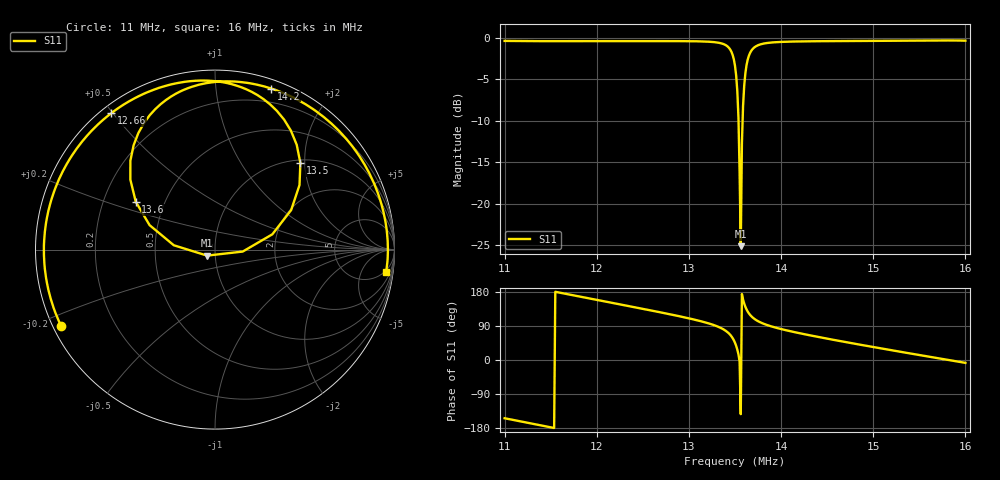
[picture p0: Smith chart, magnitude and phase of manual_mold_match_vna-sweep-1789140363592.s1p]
! TC-POWER VNA auto-tune export
# Hz S RI R 50
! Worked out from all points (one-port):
!   401 points, 11 MHz to 16 MHz, reference 50 ohm
!   lowest |S11| = -25.1 dB at 13.56 MHz (marker M1), VSWR 1.12, Z = 45.7 - j3.08 ohm
!   |S11| at or under -10 dB: 13.53822 MHz to 13.58254 MHz (44.32 kHz wide, 0.327 % of centre)
!   S11 on the Smith chart (normalised r, x): 11 MHz: 0.02, -0.23; 12.66 MHz: 0.03, +0.50; 13.5 MHz: 1.06, +1.90; 13.6 MHz: 0.34, +0.25; 14.2 MHz: 0.08, +1.41; 16 MHz: 4, -14
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1.1e7  -0.8581 -0.4244
1.1625e7  -0.9512 0.0599
1.225e7  -0.7985 0.5216
1.26625e7  -0.5767 0.761
1.2875e7  -0.4268 0.8539
1.3175e7  -0.1545 0.9367
1.33625e7  0.1195 0.9138
1.34125e7  0.236 0.8613
1.345e7  0.3452 0.7724
1.3475e7  0.4226 0.6632
1.35e7  0.4756 0.483
1.35125e7  0.4708 0.3597
1.3525e7  0.4244 0.2203
1.35375e7  0.3193 0.0851
1.355e7  0.1545 -0.0109
1.35625e7  -0.0444 -0.0336
1.3575e7  -0.2294 0.0242
1.35875e7  -0.3644 0.1362
1.36e7  -0.4414 0.2665
1.3625e7  -0.4714 0.4955
1.36625e7  -0.3958 0.7049
1.37375e7  -0.2189 0.8681
1.3875e7  -0.00207 0.934
1.4125e7  0.2518 0.9149
1.42e7  0.3141 0.8972
1.475e7  0.6751 0.677
1.5375e7  0.9118 0.3018
1.6e7  0.952 -0.1265
